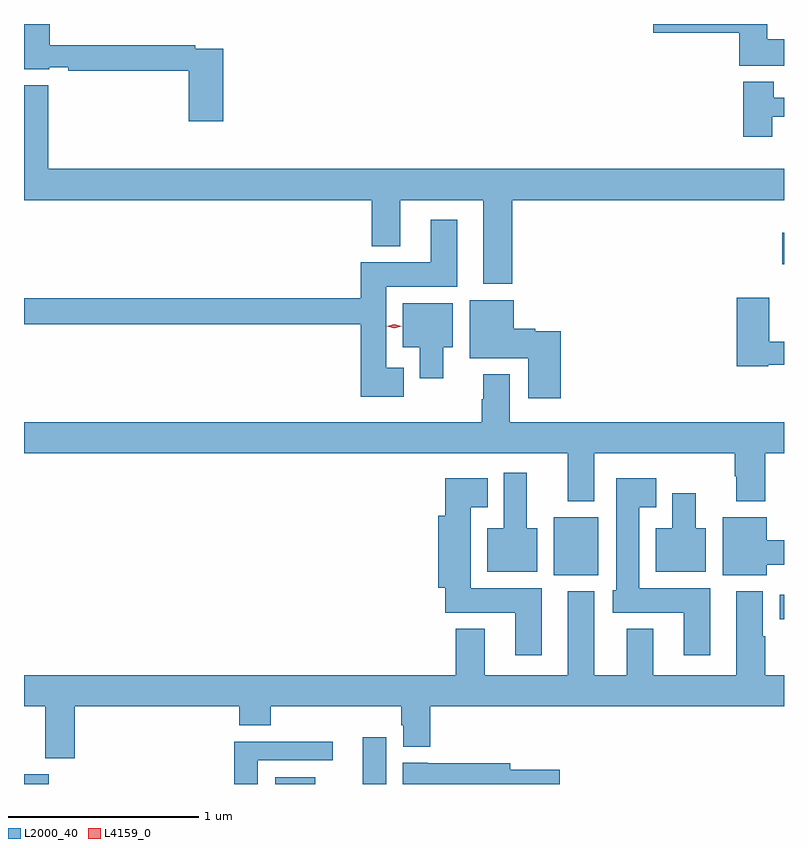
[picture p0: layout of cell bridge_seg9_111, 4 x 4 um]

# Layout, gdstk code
import gdstk
lib = gdstk.Library(unit=1e-6, precision=1e-09)
def R(c, l, rs):  # rectangles x0, y0, x1, y1
    for r in rs: c.add(gdstk.rectangle(r[:2], r[2:], *l))
def P(c, l, *ps):  # polygons
    for p in ps: c.add(gdstk.Polygon(p, *l))
L2000_40 = (2000, 40)
L4159_0 = (4159, 0)

bridge_seg9_111 = lib.new_cell('bridge_seg9_111')
R(bridge_seg9_111, L2000_40, [(866.652,1185.355,866.782,1185.406), (867.974,1185.355,868.186,1185.391), (868.436,1185.355,868.558,1185.601), (870.63,1186.222,870.652,1186.351), (869.441,1186.454,869.674,1186.759), (870.644,1188.091,870.652,1188.256)])
P(bridge_seg9_111, L2000_40, [(867.701,1189.224),(867.554,1189.224),(867.554,1189.244),(866.788,1189.244),(866.788,1189.355),(866.652,1189.355),(866.652,1189.118),(866.784,1189.118),(866.784,1189.128),(866.884,1189.128),(866.884,1189.108),(867.518,1189.108),(867.518,1188.843),(867.701,1188.843)],
  [(870.652,1189.274),(870.565,1189.274),(870.565,1189.355),(869.964,1189.355),(869.964,1189.31),(870.416,1189.31),(870.416,1189.136),(870.652,1189.136)],
  [(870.589,1188.867),(870.652,1188.867),(870.652,1188.967),(870.597,1188.967),(870.597,1189.051),(870.437,1189.051),(870.437,1188.762),(870.589,1188.762)],
  [(866.78,1189.033),(866.652,1189.033),(866.652,1188.428),(868.481,1188.428),(868.481,1188.185),(868.633,1188.185),(868.633,1188.428),(869.069,1188.428),(869.069,1187.987),(869.222,1187.987),(869.222,1188.428),(870.652,1188.428),(870.652,1188.592),(866.78,1188.592)],
  [(868.651,1187.545),(868.558,1187.545),(868.558,1187.972),(868.933,1187.972),(868.933,1188.325),(868.793,1188.325),(868.793,1188.1),(868.424,1188.1),(868.424,1187.912),(866.652,1187.912),(866.652,1187.776),(868.424,1187.776),(868.424,1187.393),(868.651,1187.393)],
  [(870.57,1187.562),(870.652,1187.562),(870.652,1187.683),(870.574,1187.683),(870.574,1187.914),(870.404,1187.914),(870.404,1187.554),(870.57,1187.554)],
  [(869.477,1187.737),(869.343,1187.737),(869.343,1187.75),(869.23,1187.75),(869.23,1187.902),(868.997,1187.902),(868.997,1187.597),(869.306,1187.597),(869.306,1187.385),(869.477,1187.385)],
  [(868.858,1187.654),(868.909,1187.654),(868.909,1187.884),(868.646,1187.884),(868.646,1187.654),(868.736,1187.654),(868.736,1187.49),(868.858,1187.49)],
  [(869.653,1187.096),(870.394,1187.096),(870.394,1186.976),(870.401,1186.976),(870.401,1186.844),(870.554,1186.844),(870.554,1187.096),(870.652,1187.096),(870.652,1187.26),(869.209,1187.26),(869.209,1187.512),(869.069,1187.512),(869.069,1187.381),(869.062,1187.381),(869.062,1187.26),(866.652,1187.26),(866.652,1187.096),(869.513,1187.096),(869.513,1186.844),(869.653,1186.844)],
  [(869.353,1186.702),(869.299,1186.702),(869.299,1186.993),(869.177,1186.993),(869.177,1186.702),(869.09,1186.702),(869.09,1186.472),(869.353,1186.472)],
  [(869.377,1186.384),(869.002,1186.384),(869.002,1186.811),(869.092,1186.811),(869.092,1186.963),(868.868,1186.963),(868.868,1186.768),(868.832,1186.768),(868.832,1186.388),(868.868,1186.388),(868.868,1186.256),(869.237,1186.256),(869.237,1186.032),(869.377,1186.032)],
  [(870.265,1186.384),(869.89,1186.384),(869.89,1186.811),(869.98,1186.811),(869.98,1186.963),(869.768,1186.963),(869.768,1186.374),(869.75,1186.374),(869.75,1186.256),(870.125,1186.256),(870.125,1186.032),(870.265,1186.032)],
  [(870.241,1186.702),(870.187,1186.702),(870.187,1186.885),(870.065,1186.885),(870.065,1186.702),(869.978,1186.702),(869.978,1186.472),(870.241,1186.472)],
  [(870.562,1186.508),(870.652,1186.508),(870.652,1186.638),(870.562,1186.638),(870.562,1186.759),(870.329,1186.759),(870.329,1186.454),(870.562,1186.454)],
  [(866.652,1185.764),(866.765,1185.764),(866.765,1185.491),(866.918,1185.491),(866.918,1185.764),(867.785,1185.764),(867.785,1185.665),(867.95,1185.665),(867.95,1185.764),(868.637,1185.764),(868.637,1185.663),(868.649,1185.663),(868.649,1185.551),(868.79,1185.551),(868.79,1185.764),(870.652,1185.764),(870.652,1185.928),(870.554,1185.928),(870.554,1186.133),(870.541,1186.133),(870.541,1186.369),(870.401,1186.369),(870.401,1185.928),(869.965,1185.928),(869.965,1186.171),(869.825,1186.171),(869.825,1185.928),(869.653,1185.928),(869.653,1186.369),(869.513,1186.369),(869.513,1185.928),(869.077,1185.928),(869.077,1186.171),(868.925,1186.171),(868.925,1185.928),(866.652,1185.928)],
  [(867.883,1185.48),(868.276,1185.48),(868.276,1185.578),(867.758,1185.578),(867.758,1185.355),(867.883,1185.355)],
  [(869.473,1185.429),(869.212,1185.429),(869.212,1185.463),(868.776,1185.463),(868.776,1185.466),(868.646,1185.466),(868.646,1185.355),(869.473,1185.355)])
P(bridge_seg9_111, L4159_0, [(868.601,1187.755),(868.562,1187.765),(868.561,1187.765),(868.562,1187.765),(868.601,1187.775),(868.641,1187.765),(868.641,1187.765),(868.641,1187.765)])

lib.write_gds('bridge_seg9_111.gds')
